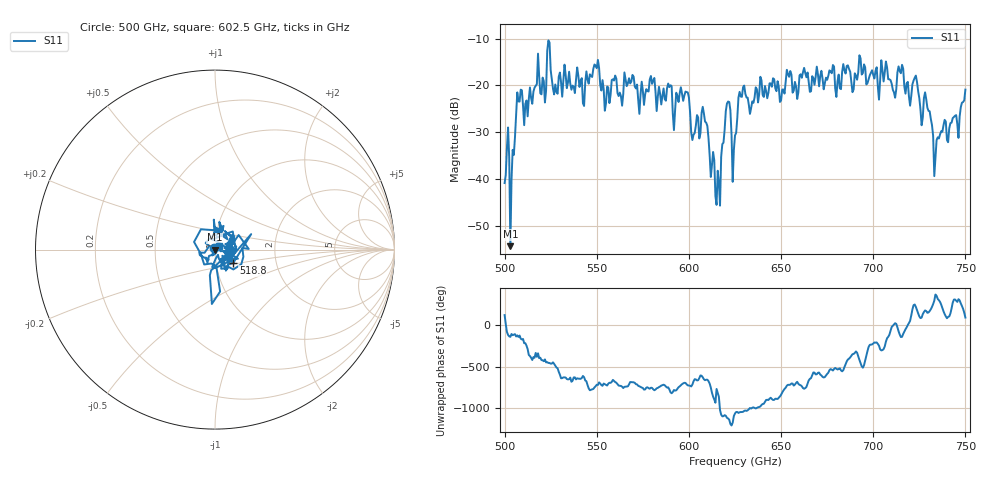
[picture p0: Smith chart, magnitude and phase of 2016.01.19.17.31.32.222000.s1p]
!Created with skrf (http://scikit-rf.org).
# GHz S RI R 50.0
!freq ReS11 ImS11
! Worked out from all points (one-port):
!   401 points, 500 GHz to 750 GHz, reference 50 ohm
!   lowest |S11| = -54.4 dB at 503.1 GHz (marker M1), VSWR 1.00, Z = 49.9 - j0.127 ohm
!   |S11| at or under -10 dB: start of sweep to end of sweep
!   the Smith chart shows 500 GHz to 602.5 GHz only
!   S11 on the Smith chart (normalised r, x): 500 GHz: 0.99, +0.01; 518.8 GHz: 1.21, -0.18; 602.5 GHz: 1.04, +0.04
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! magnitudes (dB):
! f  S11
! 500 GHz  -40.9
! 503.1 GHz  -54.4
! 504.4 GHz  -33.8
! 508.1 GHz  -23.5
! 511.2 GHz  -23.9
! 518.8 GHz  -18.0
! 524.4 GHz  -10.8
! 527.5 GHz  -19.8
! 531.2 GHz  -22.4
! 550 GHz  -16.3
! 553.8 GHz  -20.7
! 562.5 GHz  -21.5
! 593.8 GHz  -22.3
! 598.8 GHz  -21.4
! 602.5 GHz  -30.5
! 608.8 GHz  -27.7
! 615.6 GHz  -38.3
! 621.2 GHz  -23.4
! 625 GHz  -30.7
! 628.8 GHz  -22.4
! 656.2 GHz  -21.5
! 687.5 GHz  -17.1
! 711.2 GHz  -21.5
! 715 GHz  -17.4
! 718.8 GHz  -19.2
! 728.8 GHz  -22.9
! 734.4 GHz  -31.7
! 750 GHz  -20.9
